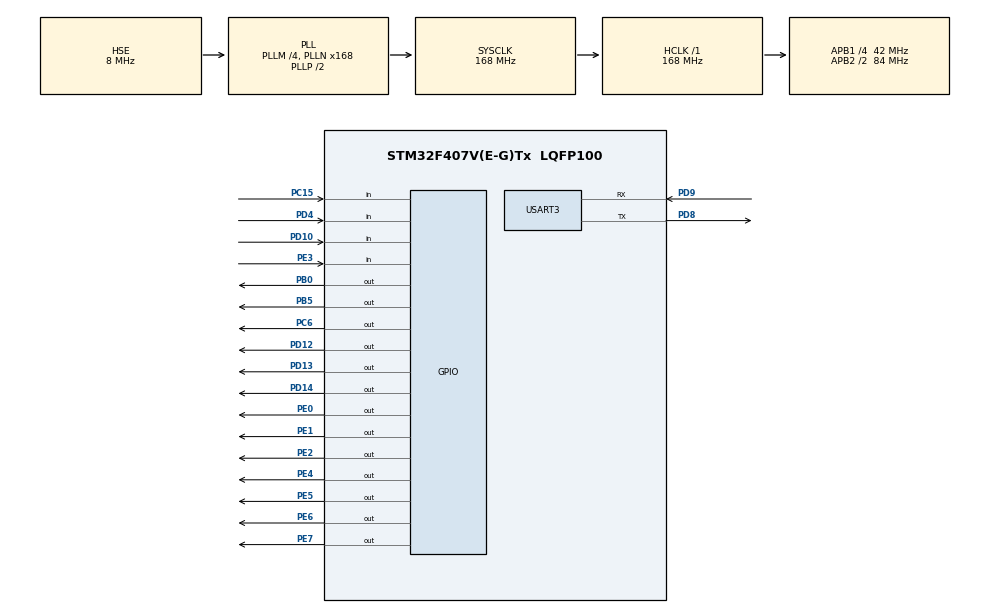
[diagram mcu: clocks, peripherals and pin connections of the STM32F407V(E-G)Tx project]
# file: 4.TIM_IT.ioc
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Mcu.Family=STM32F4
Mcu.Name=STM32F407V(E-G)Tx
Mcu.Package=LQFP100
NVIC.PriorityGroup=NVIC_PRIORITYGROUP_4
NVIC.TIM7_IRQn=true\:0\:0\:false\:true\:true\:2\:true\:true\:true
NVIC.USART3_IRQn=true\:0\:0\:false\:true\:true\:1\:true\:true\:true
PB0.Signal=GPIO_Output
PB5.Signal=GPIO_Output
PC15-OSC32_OUT.Signal=GPIO_Input
PC6.Signal=GPIO_Output
PD10.Signal=GPIO_Input
PD12.Signal=GPIO_Output
PD13.Signal=GPIO_Output
PD14.Signal=GPIO_Output
PD4.Signal=GPIO_Input
PD8.Mode=Asynchronous
PD8.Signal=USART3_TX
PD9.Mode=Asynchronous
PD9.Signal=USART3_RX
PE0.Signal=GPIO_Output
PE1.Signal=GPIO_Output
PE2.Signal=GPIO_Output
PE3.Signal=GPIO_Input
PE4.Signal=GPIO_Output
PE5.Signal=GPIO_Output
PE6.Signal=GPIO_Output
PE7.Signal=GPIO_Output
PH0-OSC_IN.Mode=HSE-External-Oscillator
PH0-OSC_IN.Signal=RCC_OSC_IN
PH1-OSC_OUT.Mode=HSE-External-Oscillator
PH1-OSC_OUT.Signal=RCC_OSC_OUT
ProjectManager.HeapSize=0x200
ProjectManager.StackSize=0x400
ProjectManager.TargetToolchain=STM32CubeIDE
RCC.48MHZClocksFreq_Value=84000000
RCC.AHBFreq_Value=168000000
RCC.APB1CLKDivider=RCC_HCLK_DIV4
RCC.APB1Freq_Value=42000000
RCC.APB1TimFreq_Value=84000000
RCC.APB2CLKDivider=RCC_HCLK_DIV2
RCC.APB2Freq_Value=84000000
RCC.APB2TimFreq_Value=168000000
RCC.CortexFreq_Value=168000000
RCC.HCLKFreq_Value=168000000
RCC.HSE_VALUE=8000000
RCC.HSI_VALUE=16000000
RCC.LSE_VALUE=32768
RCC.PLLM=4
RCC.PLLN=168
RCC.PLLSourceVirtual=RCC_PLLSOURCE_HSE
RCC.SYSCLKFreq_VALUE=168000000
RCC.SYSCLKSource=RCC_SYSCLKSOURCE_PLLCLK
RCC.VCOOutputFreq_Value=336000000
TIM7.Period=8399
TIM7.Prescaler=9999
USART3.VirtualMode=VM_ASYNC
VP_TIM7_VS_ClockSourceINT.Mode=Enable_Timer
board=custom

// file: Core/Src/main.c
/* USER CODE BEGIN Header */
/**
  ******************************************************************************
  * @file           : main.c
  * @brief          : Main program body
  ******************************************************************************
  * @attention
  *
  * Copyright (c) 2024 STMicroelectronics.
  * All rights reserved.
  *
  * This software is licensed under terms that can be found in the LICENSE file
  * in the root directory of this software component.
  * If no LICENSE file comes with this software, it is provided AS-IS.
  *
  ******************************************************************************
  */
/* USER CODE END Header */
#include "main.h"
#include "tim.h"
#include "usart.h"
#include "gpio.h"

/* USER CODE BEGIN Includes */
#include "CLCD.h"
#include "7SEG.h"
#include  <stdio.h>
/* USER CODE END Includes */

/* USER CODE BEGIN PV */
 uint8_t rx3_data;
/* USER CODE END PV */

void SystemClock_Config(void);
static void MX_NVIC_Init(void);

int main(void)
{

  /* MCU Configuration--------------------------------------------------------*/

  /* Reset of all peripherals, Initializes the Flash interface and the Systick. */
  HAL_Init();

  /* Configure the system clock */
  SystemClock_Config();

  /* Initialize all configured peripherals */
  MX_GPIO_Init();
  MX_USART3_UART_Init();
  MX_TIM7_Init();

  /* Initialize interrupts */
  MX_NVIC_Init();
  /* USER CODE BEGIN 2 */
  HAL_GPIO_WritePin(GPIOD, GPIO_PIN_12, GPIO_PIN_SET);
  HAL_GPIO_WritePin(GPIOD, GPIO_PIN_13, GPIO_PIN_SET);
  HAL_GPIO_WritePin(GPIOD, GPIO_PIN_14, GPIO_PIN_SET);

  HAL_GPIO_WritePin(GPIOC, GPIO_PIN_6, GPIO_PIN_SET);
  HAL_GPIO_WritePin(GPIOB, GPIO_PIN_5, GPIO_PIN_SET);
  HAL_GPIO_WritePin(GPIOB, GPIO_PIN_0, GPIO_PIN_SET);

  HAL_UART_Receive_IT(&huart3, &rx3_data, 1);
  HAL_TIM_Base_Start_IT(&htim7);

  CLCD_GPIO_Init();
  CLCD_Init();
  CLCD_Puts(0, 0, "hello world");

  _7SEG_GPIO_Init();
  /* USER CODE END 2 */

  /* Infinite loop */
  /* USER CODE BEGIN WHILE */
  uint8_t a = 0;
  uint8_t str[20];
  while (1)
  {

    /* USER CODE END WHILE */

  }
}

void SystemClock_Config(void)
{
  RCC_OscInitTypeDef RCC_OscInitStruct = {0};
  RCC_ClkInitTypeDef RCC_ClkInitStruct = {0};

  /** Configure the main internal regulator output voltage
  */
  __HAL_RCC_PWR_CLK_ENABLE();
  __HAL_PWR_VOLTAGESCALING_CONFIG(PWR_REGULATOR_VOLTAGE_SCALE1);

  /** Initializes the RCC Oscillators according to the specified parameters
  * in the RCC_OscInitTypeDef structure.
  */
  RCC_OscInitStruct.OscillatorType = RCC_OSCILLATORTYPE_HSE;
  RCC_OscInitStruct.HSEState = RCC_HSE_ON;
  RCC_OscInitStruct.PLL.PLLState = RCC_PLL_ON;
  RCC_OscInitStruct.PLL.PLLSource = RCC_PLLSOURCE_HSE;
  RCC_OscInitStruct.PLL.PLLM = 4;
  RCC_OscInitStruct.PLL.PLLN = 168;
  RCC_OscInitStruct.PLL.PLLP = RCC_PLLP_DIV2;
  RCC_OscInitStruct.PLL.PLLQ = 4;
  if (HAL_RCC_OscConfig(&RCC_OscInitStruct) != HAL_OK)
  {
    Error_Handler();
  }

  /** Initializes the CPU, AHB and APB buses clocks
  */
  RCC_ClkInitStruct.ClockType = RCC_CLOCKTYPE_HCLK|RCC_CLOCKTYPE_SYSCLK
                              |RCC_CLOCKTYPE_PCLK1|RCC_CLOCKTYPE_PCLK2;
  RCC_ClkInitStruct.SYSCLKSource = RCC_SYSCLKSOURCE_PLLCLK;
  RCC_ClkInitStruct.AHBCLKDivider = RCC_SYSCLK_DIV1;
  RCC_ClkInitStruct.APB1CLKDivider = RCC_HCLK_DIV4;
  RCC_ClkInitStruct.APB2CLKDivider = RCC_HCLK_DIV2;

  if (HAL_RCC_ClockConfig(&RCC_ClkInitStruct, FLASH_LATENCY_5) != HAL_OK)
  {
    Error_Handler();
  }
}

/**
  * @brief NVIC Configuration.
  * @retval None
  */
static void MX_NVIC_Init(void)
{
  /* USART3_IRQn interrupt configuration */
  HAL_NVIC_SetPriority(USART3_IRQn, 0, 0);
  HAL_NVIC_EnableIRQ(USART3_IRQn);
  /* TIM7_IRQn interrupt configuration */
  HAL_NVIC_SetPriority(TIM7_IRQn, 0, 0);
  HAL_NVIC_EnableIRQ(TIM7_IRQn);
}

/* USER CODE BEGIN 4 */
void HAL_UART_RxCpltCallback(UART_HandleTypeDef *huart)
{
  if(huart->Instance == USART3)
  {
	  HAL_UART_Receive_IT(&huart3, &rx3_data, 10);
	  HAL_UART_Transmit(&huart3, &rx3_data, 1, 10);
  }
}
void HAL_TIM_PeriodElapsedCallback(TIM_HandleTypeDef *htim)
{
  if(htim->Instance == TIM7)
  {
	  static unsigned char cnt =0;
	  HAL_GPIO_TogglePin(GPIOD, GPIO_PIN_12);
	  _7SEG_SetNumber(DGT1, cnt/10, OFF);
	  _7SEG_SetNumber(DGT2, cnt%10, ON);
	  cnt++;
  }
}
/* USER CODE END 4 */

void Error_Handler(void)
{
  __disable_irq();
  while (1)
  {
  }
}
